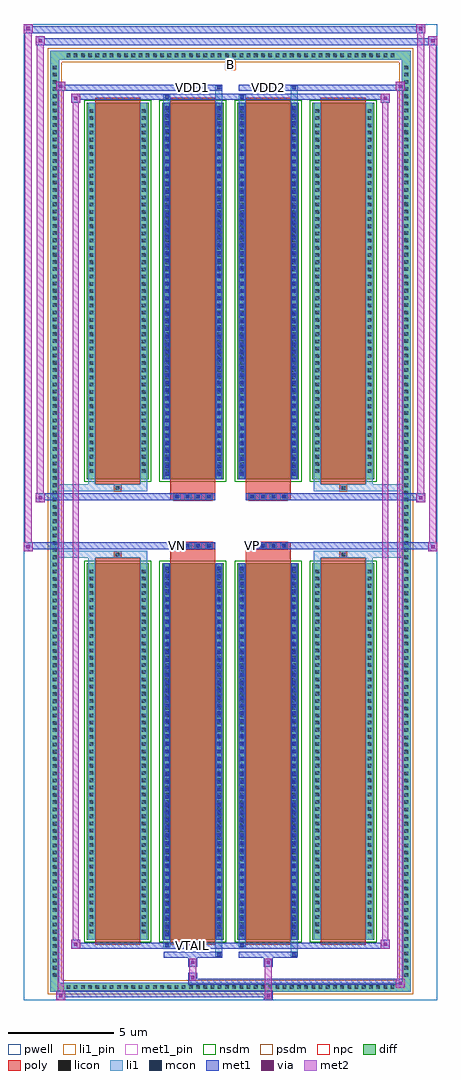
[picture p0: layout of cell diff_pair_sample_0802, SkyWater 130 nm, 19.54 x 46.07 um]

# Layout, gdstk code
import gdstk
lib = gdstk.Library(unit=1e-6, precision=5e-09)
def R(c, l, rs):  # rectangles x0, y0, x1, y1
    for r in rs: c.add(gdstk.rectangle(r[:2], r[2:], *l))
def A(c, l, x, y, w, h, nx, ny, dx, dy):  # array of equal rectangles
    R(c, l, [(x+i*dx, y+j*dy, x+i*dx+w, y+j*dy+h) for i in range(nx) for j in range(ny)])
def P(c, l, *ps):  # polygons
    for p in ps: c.add(gdstk.Polygon(p, *l))
pwell = (64, 44)
diff = (65, 20)
poly = (66, 20)
licon = (66, 44)
li1_pin = (67, 16)
li1 = (67, 20)
mcon = (67, 44)
met1_pin = (68, 16)
met1 = (68, 20)
via = (68, 44)
met2 = (69, 20)
nsdm = (93, 44)
psdm = (94, 20)
npc = (95, 20)

diff_pair_sample_0802 = lib.new_cell('diff_pair_sample_0802')
R(diff_pair_sample_0802, pwell, [(-9.77,-22.6,9.77,23.47), (-7.09,-20.79,-0.01,-0.795), (0.01,-20.79,7.09,-0.795), (-7.09,0.795,-0.01,20.79), (0.01,0.795,7.09,20.79)])
A(diff_pair_sample_0802, diff, -7.855, -22.2, 0.41, 0.41, 46, 2, 0.34, 43.99)
A(diff_pair_sample_0802, diff, -8.5, -21.625, 0.41, 0.41, 1, 127, 0, 0.34)
A(diff_pair_sample_0802, diff, 8.09, -21.625, 0.41, 0.41, 1, 127, 0, 0.34)
A(diff_pair_sample_0802, diff, -6.78, -19.745, 2.91, 17.76, 4, 2, 3.55, 21.73)
R(diff_pair_sample_0802, diff, [(-7.855,-22.2,7.855,-21.79), (-8.5,-21.625,-8.09,21.625), (8.09,-21.625,8.5,21.625), (-7.855,21.79,7.855,22.2)])
P(diff_pair_sample_0802, diff, [(8.5,22.2),(-8.5,22.2),(-8.5,-21.79),(-8.09,-21.79),(-8.09,21.79),(8.09,21.79),(8.09,-21.79),(-8.09,-21.79),(-8.5,-21.79),(-8.5,-22.2),(8.5,-22.2)])
A(diff_pair_sample_0802, poly, -6.39, -19.995, 2.13, 18.26, 4, 2, 3.55, 21.73)
A(diff_pair_sample_0802, poly, -2.69, -1.325, 0.33, 0.33, 4, 2, 0.5, 2.32)
A(diff_pair_sample_0802, poly, 0.86, -1.325, 0.33, 0.33, 4, 2, 0.5, 2.32)
R(diff_pair_sample_0802, poly, [(-5.49,-1.735,-5.16,-1.405), (-5.49,-1.735,-5.16,-1.405), (-2.84,-1.735,-0.71,-1.325), (0.71,-1.735,2.84,-1.325), (5.16,-1.735,5.49,-1.405), (5.16,-1.735,5.49,-1.405), (-2.84,-1.325,-0.71,-0.995), (0.71,-1.325,2.84,-0.995), (-2.84,0.995,-0.71,1.325), (0.71,0.995,2.84,1.325), (-2.84,1.325,-0.71,1.735), (0.71,1.325,2.84,1.735), (-5.49,1.405,-5.16,1.735), (-5.49,1.405,-5.16,1.735), (5.16,1.405,5.49,1.735), (5.16,1.405,5.49,1.735)])
A(diff_pair_sample_0802, licon, -7.735, -22.08, 0.17, 0.17, 46, 2, 0.34, 43.99)
A(diff_pair_sample_0802, licon, -8.38, -21.505, 0.17, 0.17, 1, 127, 0, 0.34)
A(diff_pair_sample_0802, licon, 8.21, -21.505, 0.17, 0.17, 1, 127, 0, 0.34)
A(diff_pair_sample_0802, licon, -6.64, -19.45, 0.17, 0.17, 1, 51, 0, 0.34)
A(diff_pair_sample_0802, licon, -4.18, -19.45, 0.17, 0.17, 1, 51, 0, 0.34)
A(diff_pair_sample_0802, licon, -3.09, -19.45, 0.17, 0.17, 1, 51, 0, 0.34)
A(diff_pair_sample_0802, licon, -0.63, -19.45, 0.17, 0.17, 1, 51, 0, 0.34)
A(diff_pair_sample_0802, licon, 0.46, -19.45, 0.17, 0.17, 1, 51, 0, 0.34)
A(diff_pair_sample_0802, licon, 2.92, -19.45, 0.17, 0.17, 1, 51, 0, 0.34)
A(diff_pair_sample_0802, licon, 4.01, -19.45, 0.17, 0.17, 1, 51, 0, 0.34)
A(diff_pair_sample_0802, licon, 6.47, -19.45, 0.17, 0.17, 1, 51, 0, 0.34)
A(diff_pair_sample_0802, licon, -2.61, -1.245, 0.17, 0.17, 4, 2, 0.5, 2.32)
A(diff_pair_sample_0802, licon, 0.94, -1.245, 0.17, 0.17, 4, 2, 0.5, 2.32)
A(diff_pair_sample_0802, licon, -6.64, 2.28, 0.17, 0.17, 1, 51, 0, 0.34)
A(diff_pair_sample_0802, licon, -4.18, 2.28, 0.17, 0.17, 1, 51, 0, 0.34)
A(diff_pair_sample_0802, licon, -3.09, 2.28, 0.17, 0.17, 1, 51, 0, 0.34)
A(diff_pair_sample_0802, licon, -0.63, 2.28, 0.17, 0.17, 1, 51, 0, 0.34)
A(diff_pair_sample_0802, licon, 0.46, 2.28, 0.17, 0.17, 1, 51, 0, 0.34)
A(diff_pair_sample_0802, licon, 2.92, 2.28, 0.17, 0.17, 1, 51, 0, 0.34)
A(diff_pair_sample_0802, licon, 4.01, 2.28, 0.17, 0.17, 1, 51, 0, 0.34)
A(diff_pair_sample_0802, licon, 6.47, 2.28, 0.17, 0.17, 1, 51, 0, 0.34)
R(diff_pair_sample_0802, licon, [(-5.41,-1.655,-5.24,-1.485), (5.24,-1.655,5.41,-1.485), (-5.41,1.485,-5.24,1.655), (5.24,1.485,5.41,1.655)])
R(diff_pair_sample_0802, li1_pin, [(-0.25,21.29,0.25,21.79)])
A(diff_pair_sample_0802, li1, -7.815, -22.16, 0.33, 0.33, 46, 2, 0.34, 43.99)
A(diff_pair_sample_0802, li1, -8.46, -21.585, 0.33, 0.33, 1, 127, 0, 0.34)
A(diff_pair_sample_0802, li1, 8.13, -21.585, 0.33, 0.33, 1, 127, 0, 0.34)
A(diff_pair_sample_0802, li1, -3.09, -19.59, 0.17, 0.17, 1, 49, 0, 0.36)
A(diff_pair_sample_0802, li1, -0.63, -19.59, 0.17, 0.17, 1, 49, 0, 0.36)
A(diff_pair_sample_0802, li1, 0.46, -19.59, 0.17, 0.17, 1, 49, 0, 0.36)
A(diff_pair_sample_0802, li1, 2.92, -19.59, 0.17, 0.17, 1, 49, 0, 0.36)
A(diff_pair_sample_0802, li1, -6.72, -19.53, 0.33, 0.33, 1, 51, 0, 0.34)
A(diff_pair_sample_0802, li1, -4.26, -19.53, 0.33, 0.33, 1, 51, 0, 0.34)
A(diff_pair_sample_0802, li1, -3.17, -19.53, 0.33, 0.33, 1, 51, 0, 0.34)
A(diff_pair_sample_0802, li1, -0.71, -19.53, 0.33, 0.33, 1, 51, 0, 0.34)
A(diff_pair_sample_0802, li1, 0.38, -19.53, 0.33, 0.33, 1, 51, 0, 0.34)
A(diff_pair_sample_0802, li1, 2.84, -19.53, 0.33, 0.33, 1, 51, 0, 0.34)
A(diff_pair_sample_0802, li1, 3.93, -19.53, 0.33, 0.33, 1, 51, 0, 0.34)
A(diff_pair_sample_0802, li1, 6.39, -19.53, 0.33, 0.33, 1, 51, 0, 0.34)
A(diff_pair_sample_0802, li1, -2.69, -1.325, 0.33, 0.33, 4, 2, 0.5, 2.32)
A(diff_pair_sample_0802, li1, 0.86, -1.325, 0.33, 0.33, 4, 2, 0.5, 2.32)
A(diff_pair_sample_0802, li1, -3.09, 2.14, 0.17, 0.17, 1, 49, 0, 0.36)
A(diff_pair_sample_0802, li1, -0.63, 2.14, 0.17, 0.17, 1, 49, 0, 0.36)
A(diff_pair_sample_0802, li1, 0.46, 2.14, 0.17, 0.17, 1, 49, 0, 0.36)
A(diff_pair_sample_0802, li1, 2.92, 2.14, 0.17, 0.17, 1, 49, 0, 0.36)
A(diff_pair_sample_0802, li1, -6.72, 2.2, 0.33, 0.33, 1, 51, 0, 0.34)
A(diff_pair_sample_0802, li1, -4.26, 2.2, 0.33, 0.33, 1, 51, 0, 0.34)
A(diff_pair_sample_0802, li1, -3.17, 2.2, 0.33, 0.33, 1, 51, 0, 0.34)
A(diff_pair_sample_0802, li1, -0.71, 2.2, 0.33, 0.33, 1, 51, 0, 0.34)
A(diff_pair_sample_0802, li1, 0.38, 2.2, 0.33, 0.33, 1, 51, 0, 0.34)
A(diff_pair_sample_0802, li1, 2.84, 2.2, 0.33, 0.33, 1, 51, 0, 0.34)
A(diff_pair_sample_0802, li1, 3.93, 2.2, 0.33, 0.33, 1, 51, 0, 0.34)
A(diff_pair_sample_0802, li1, 6.39, 2.2, 0.33, 0.33, 1, 51, 0, 0.34)
R(diff_pair_sample_0802, li1, [(-8.5,-22.2,-8.09,-21.79), (-8.5,-22.2,-8.09,-21.79), (-8.09,-22.2,8.09,-21.79), (8.09,-22.2,8.5,-21.79), (8.09,-22.2,8.5,-21.79), (-8.5,-21.79,-8.09,21.79), (8.09,-21.79,8.5,21.79), (-0.71,-20.55,-0.38,-19.745), (-0.63,-20.55,-0.46,-20.38), (2.84,-20.55,3.17,-19.745), (2.92,-20.55,3.09,-20.38), (-3.17,-20.12,-2.84,-19.745), (-3.09,-20.12,-2.92,-19.95), (0.38,-20.12,0.71,-19.745), (0.46,-20.12,0.63,-19.95), (-6.72,-19.745,-6.39,-1.985), (-4.26,-19.745,-3.93,-1.985), (-3.17,-19.745,-2.84,-1.985), (-0.71,-19.745,-0.38,-1.985), (0.38,-19.745,0.71,-1.985), (2.84,-19.745,3.17,-1.985), (3.93,-19.745,4.26,-1.985), (6.39,-19.745,6.72,-1.985), (-3.09,-19.59,-2.92,-2.14), (-0.63,-19.59,-0.46,-2.14), (0.46,-19.59,0.63,-2.14), (2.92,-19.59,3.09,-2.14), (-6.72,-1.985,-6.39,-1.405), (-4.26,-1.985,-3.93,-1.405), (3.93,-1.985,4.26,-1.405), (6.39,-1.985,6.72,-1.405), (-8.5,-1.735,-5.49,-1.405), (-6.72,-1.735,-5.49,-1.405), (-5.49,-1.735,-5.16,-1.405), (-5.16,-1.735,-3.93,-1.405), (3.93,-1.735,5.16,-1.405), (5.16,-1.735,5.49,-1.405), (5.16,-1.735,8.5,-1.405), (5.49,-1.735,6.72,-1.405), (-8.5,1.405,-5.49,1.735), (-6.72,1.405,-5.49,1.735), (-6.72,1.405,-6.39,1.985), (-5.49,1.405,-5.16,1.735), (-5.16,1.405,-3.93,1.735), (-4.26,1.405,-3.93,1.985), (3.93,1.405,5.16,1.735), (3.93,1.405,4.26,1.985), (5.16,1.405,5.49,1.735), (5.16,1.405,8.5,1.735), (5.49,1.405,6.72,1.735), (6.39,1.405,6.72,1.985), (-6.72,1.985,-6.39,19.745), (-4.26,1.985,-3.93,19.745), (-3.17,1.985,-2.84,19.745), (-0.71,1.985,-0.38,19.745), (0.38,1.985,0.71,19.745), (2.84,1.985,3.17,19.745), (3.93,1.985,4.26,19.745), (6.39,1.985,6.72,19.745), (-3.09,2.14,-2.92,19.59), (-0.63,2.14,-0.46,19.59), (0.46,2.14,0.63,19.59), (2.92,2.14,3.09,19.59), (-3.17,19.745,-2.84,20.12), (-0.71,19.745,-0.38,20.55), (0.38,19.745,0.71,20.12), (2.84,19.745,3.17,20.55), (-3.09,19.95,-2.92,20.12), (0.46,19.95,0.63,20.12), (-0.63,20.38,-0.46,20.55), (2.92,20.38,3.09,20.55), (-8.5,21.79,-8.09,22.2), (-8.5,21.79,-8.09,22.2), (-8.09,21.79,8.09,22.2), (8.09,21.79,8.5,22.2), (8.09,21.79,8.5,22.2)])
A(diff_pair_sample_0802, mcon, -3.09, -19.59, 0.17, 0.17, 1, 49, 0, 0.36)
A(diff_pair_sample_0802, mcon, -0.63, -19.59, 0.17, 0.17, 1, 49, 0, 0.36)
A(diff_pair_sample_0802, mcon, 0.46, -19.59, 0.17, 0.17, 1, 49, 0, 0.36)
A(diff_pair_sample_0802, mcon, 2.92, -19.59, 0.17, 0.17, 1, 49, 0, 0.36)
A(diff_pair_sample_0802, mcon, -2.61, -1.245, 0.17, 0.17, 4, 2, 0.5, 2.32)
A(diff_pair_sample_0802, mcon, 0.94, -1.245, 0.17, 0.17, 4, 2, 0.5, 2.32)
A(diff_pair_sample_0802, mcon, -3.09, 2.14, 0.17, 0.17, 1, 49, 0, 0.36)
A(diff_pair_sample_0802, mcon, -0.63, 2.14, 0.17, 0.17, 1, 49, 0, 0.36)
A(diff_pair_sample_0802, mcon, 0.46, 2.14, 0.17, 0.17, 1, 49, 0, 0.36)
A(diff_pair_sample_0802, mcon, 2.92, 2.14, 0.17, 0.17, 1, 49, 0, 0.36)
R(diff_pair_sample_0802, mcon, [(-0.63,-20.55,-0.46,-20.38), (2.92,-20.55,3.09,-20.38), (-3.09,-20.12,-2.92,-19.95), (0.46,-20.12,0.63,-19.95), (-3.09,19.95,-2.92,20.12), (0.46,19.95,0.63,20.12), (-0.63,20.38,-0.46,20.55), (2.92,20.38,3.09,20.55)])
R(diff_pair_sample_0802, met1_pin, [(-1.91,-20.16,-1.64,-19.89), (-2.66,-1.285,-2.39,-1.015), (0.89,-1.285,1.16,-1.015), (-1.91,20.34,-1.64,20.61), (1.64,20.34,1.91,20.61)])
A(diff_pair_sample_0802, met1, -3.15, -19.65, 0.29, 0.29, 1, 49, 0, 0.36)
A(diff_pair_sample_0802, met1, -0.69, -19.65, 0.29, 0.29, 1, 49, 0, 0.36)
A(diff_pair_sample_0802, met1, 0.4, -19.65, 0.29, 0.29, 1, 49, 0, 0.36)
A(diff_pair_sample_0802, met1, 2.86, -19.65, 0.29, 0.29, 1, 49, 0, 0.36)
A(diff_pair_sample_0802, met1, -2.67, -1.305, 0.29, 0.29, 4, 2, 0.5, 2.32)
A(diff_pair_sample_0802, met1, 0.88, -1.305, 0.29, 0.29, 4, 2, 0.5, 2.32)
A(diff_pair_sample_0802, met1, -3.15, 2.08, 0.29, 0.29, 1, 49, 0, 0.36)
A(diff_pair_sample_0802, met1, -0.69, 2.08, 0.29, 0.29, 1, 49, 0, 0.36)
A(diff_pair_sample_0802, met1, 0.4, 2.08, 0.29, 0.29, 1, 49, 0, 0.36)
A(diff_pair_sample_0802, met1, 2.86, 2.08, 0.29, 0.29, 1, 49, 0, 0.36)
R(diff_pair_sample_0802, met1, [(-8.23,-22.6,-7.8,-22.17), (1.56,-22.6,1.99,-22.17), (-8.23,-22.46,1.99,-22.17), (7.8,-22.03,8.23,-21.6), (-1.99,-21.89,8.23,-21.6), (-1.99,-21.75,-1.56,-21.32), (-1.99,-21.04,-1.56,-20.61), (1.56,-21.04,1.99,-20.61), (-3.15,-20.61,-0.4,-20.32), (-0.69,-20.61,-0.4,-20.32), (0.4,-20.61,3.15,-20.32), (2.86,-20.61,3.15,-20.32), (-7.52,-20.18,-7.09,-19.75), (-7.52,-20.18,-3.15,-19.89), (-3.15,-20.18,-2.86,-19.89), (-3.15,-20.18,-0.4,-19.89), (-0.4,-20.18,0.4,-19.89), (0.4,-20.18,0.69,-19.89), (0.4,-20.18,3.15,-19.89), (3.15,-20.18,7.52,-19.89), (7.09,-20.18,7.52,-19.75), (-3.15,-19.745,-2.86,-1.985), (-0.69,-19.745,-0.4,-1.985), (0.4,-19.745,0.69,-1.985), (2.86,-19.745,3.15,-1.985), (-9.77,-1.425,-9.34,-0.995), (9.34,-1.425,9.77,-0.995), (-9.77,-1.325,-0.71,-0.995), (-2.84,-1.325,-0.71,-0.995), (0.71,-1.325,2.84,-0.995), (0.71,-1.325,9.77,-0.995), (-9.2,0.895,-8.77,1.325), (8.77,0.895,9.2,1.325), (-9.2,0.995,-2.84,1.325), (-2.84,0.995,-0.71,1.325), (0.71,0.995,2.84,1.325), (2.84,0.995,9.2,1.325), (-3.15,1.985,-2.86,19.745), (-0.69,1.985,-0.4,19.745), (0.4,1.985,0.69,19.745), (2.86,1.985,3.15,19.745), (-7.52,19.75,-7.09,20.18), (7.09,19.75,7.52,20.18), (-7.52,19.89,-3.15,20.18), (-3.15,19.89,-2.86,20.18), (-3.15,19.89,-0.4,20.18), (-0.4,19.89,0.4,20.18), (0.4,19.89,0.69,20.18), (0.4,19.89,3.15,20.18), (3.15,19.89,7.52,20.18), (-8.23,20.32,-7.8,20.75), (-8.23,20.32,-3.15,20.61), (-3.15,20.32,-0.4,20.61), (-0.69,20.32,-0.4,20.61), (0.4,20.32,3.15,20.61), (2.86,20.32,3.15,20.61), (3.15,20.32,8.23,20.61), (7.8,20.32,8.23,20.75), (-9.2,22.47,-8.77,22.9), (-9.2,22.47,-7.09,22.8), (-7.09,22.47,7.09,22.8), (7.09,22.47,9.77,22.8), (9.34,22.47,9.77,22.9), (-9.77,23.04,-9.34,23.47), (-9.77,23.04,-7.09,23.37), (-7.09,23.04,7.09,23.37), (7.09,23.04,9.2,23.37), (8.77,23.04,9.2,23.47)])
R(diff_pair_sample_0802, via, [(-8.09,-22.46,-7.94,-22.31), (1.7,-22.46,1.85,-22.31), (7.94,-21.89,8.09,-21.74), (-1.85,-21.61,-1.7,-21.46), (-1.85,-20.9,-1.7,-20.75), (1.7,-20.9,1.85,-20.75), (-7.38,-20.04,-7.23,-19.89), (7.23,-20.04,7.38,-19.89), (-9.63,-1.285,-9.48,-1.135), (9.48,-1.285,9.63,-1.135), (-9.06,1.035,-8.91,1.185), (8.91,1.035,9.06,1.185), (-7.38,19.89,-7.23,20.04), (7.23,19.89,7.38,20.04), (-8.09,20.46,-7.94,20.61), (7.94,20.46,8.09,20.61), (-9.06,22.61,-8.91,22.76), (9.48,22.61,9.63,22.76), (-9.63,23.18,-9.48,23.33), (8.91,23.18,9.06,23.33)])
R(diff_pair_sample_0802, met2, [(-8.23,-22.6,-7.8,-22.17), (-8.16,-22.6,-7.87,20.75), (-7.87,-22.6,-7.8,-22.17), (-8.18,-22.55,-7.85,-22.22), (1.61,-22.55,1.94,-22.22), (1.61,-22.22,1.94,-20.99), (7.8,-22.03,8.23,-21.6), (7.87,-22.03,8.16,20.75), (8.16,-22.03,8.23,-21.6), (7.85,-21.98,8.18,-21.65), (-1.94,-21.7,-1.61,-21.37), (-1.94,-21.37,-1.61,-20.99), (-1.94,-20.99,-1.61,-20.66), (1.61,-20.99,1.94,-20.66), (-7.52,-20.18,-7.09,-19.75), (-7.45,-20.18,-7.16,20.18), (-7.16,-20.18,-7.09,-19.75), (7.09,-20.18,7.52,-19.75), (7.16,-20.18,7.45,20.18), (7.45,-20.18,7.52,-19.75), (-7.47,-20.13,-7.14,-19.8), (7.14,-20.13,7.47,-19.8), (-9.77,-1.425,-9.34,-0.995), (-9.72,-1.425,-9.39,23.47), (-9.39,-1.425,-9.34,-0.995), (9.34,-1.425,9.77,-0.995), (9.39,-1.425,9.72,22.9), (9.72,-1.425,9.77,-0.995), (-9.72,-1.375,-9.39,-1.045), (9.39,-1.375,9.72,-1.045), (-9.2,0.895,-8.77,1.325), (-9.15,0.895,-8.82,22.9), (-8.82,0.895,-8.77,1.325), (8.77,0.895,9.2,1.325), (8.82,0.895,9.15,23.47), (9.15,0.895,9.2,1.325), (-9.15,0.945,-8.82,1.275), (8.82,0.945,9.15,1.275), (-7.52,19.75,-7.09,20.18), (-7.16,19.75,-7.09,20.18), (7.09,19.75,7.52,20.18), (7.45,19.75,7.52,20.18), (-7.47,19.8,-7.14,20.13), (7.14,19.8,7.47,20.13), (-8.23,20.32,-7.8,20.75), (-7.87,20.32,-7.8,20.75), (7.8,20.32,8.23,20.75), (8.16,20.32,8.23,20.75), (-8.18,20.37,-7.85,20.7), (7.85,20.37,8.18,20.7), (-9.2,22.47,-8.77,22.9), (-8.82,22.47,-8.77,22.9), (9.34,22.47,9.77,22.9), (9.72,22.47,9.77,22.9), (-9.15,22.52,-8.82,22.85), (9.39,22.52,9.72,22.85), (-9.77,23.04,-9.34,23.47), (-9.39,23.04,-9.34,23.47), (8.77,23.04,9.2,23.47), (9.15,23.04,9.2,23.47), (-9.72,23.09,-9.39,23.42), (8.82,23.09,9.15,23.42)])
A(diff_pair_sample_0802, nsdm, -6.91, -19.875, 3.17, 18.02, 4, 2, 3.55, 21.73)
P(diff_pair_sample_0802, psdm, [(8.63,22.33),(-8.63,22.33),(-8.63,-21.66),(-7.96,-21.66),(-7.96,21.66),(7.96,21.66),(7.96,-21.66),(-7.96,-21.66),(-8.63,-21.66),(-8.63,-22.33),(8.63,-22.33)])
A(diff_pair_sample_0802, npc, -2.71, -1.345, 0.37, 0.37, 4, 2, 0.5, 2.32)
A(diff_pair_sample_0802, npc, 0.84, -1.345, 0.37, 0.37, 4, 2, 0.5, 2.32)
R(diff_pair_sample_0802, npc, [(-5.51,-1.755,-5.14,-1.385), (5.14,-1.755,5.51,-1.385), (-2.71,-1.345,-1.84,-0.975), (-2.71,-1.345,-1.84,-0.975), (-2.21,-1.345,-1.34,-0.975), (-2.21,-1.345,-1.34,-0.975), (-1.71,-1.345,-0.84,-0.975), (-1.71,-1.345,-0.84,-0.975), (0.84,-1.345,1.71,-0.975), (0.84,-1.345,1.71,-0.975), (1.34,-1.345,2.21,-0.975), (1.34,-1.345,2.21,-0.975), (1.84,-1.345,2.71,-0.975), (1.84,-1.345,2.71,-0.975), (-2.71,0.975,-1.84,1.345), (-2.71,0.975,-1.84,1.345), (-2.21,0.975,-1.34,1.345), (-2.21,0.975,-1.34,1.345), (-1.71,0.975,-0.84,1.345), (-1.71,0.975,-0.84,1.345), (0.84,0.975,1.71,1.345), (0.84,0.975,1.71,1.345), (1.34,0.975,2.21,1.345), (1.34,0.975,2.21,1.345), (1.84,0.975,2.71,1.345), (1.84,0.975,2.71,1.345), (-5.51,1.385,-5.14,1.755), (5.14,1.385,5.51,1.755)])
diff_pair_sample_0802.add(gdstk.Label('VTAIL', (-1.775,-20.025), layer=68, texttype=5))
diff_pair_sample_0802.add(gdstk.Label('VN', (-2.525,-1.15), layer=68, texttype=5))
diff_pair_sample_0802.add(gdstk.Label('VP', (1.025,-1.15), layer=68, texttype=5))
diff_pair_sample_0802.add(gdstk.Label('B', (0,21.54), layer=67, texttype=5))
diff_pair_sample_0802.add(gdstk.Label('VDD2', (1.775,20.475), layer=68, texttype=5))
diff_pair_sample_0802.add(gdstk.Label('VDD1', (-1.775,20.475), layer=68, texttype=5))

lib.write_gds('diff_pair_sample_0802.gds')
